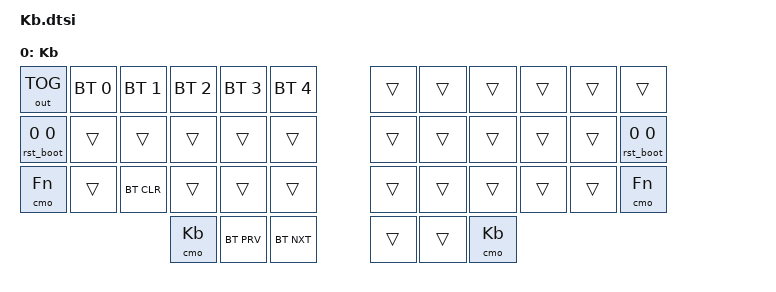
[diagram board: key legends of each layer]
/**
 * Keyboard Settings Layer
 */

/ {
  keymap {
    compatible = "zmk,keymap";

    kb_layer {
      display-name = "Kb";
      bindings = <
// ╭───────────────┬───────────────┬───────────────┬───────────────┬───────────────┬───────────────╮   ╭───────────────┬───────────────┬───────────────┬───────────────┬───────────────┬───────────────╮
// │0              │1              │2              │3              │4              │5              │   │6              │7              │8              │9              │10             │11             │
    &out OUT_TOG    &bt BT_SEL 0    &bt BT_SEL 1    &bt BT_SEL 2    &bt BT_SEL 3    &bt BT_SEL 4        &trans          &trans          &trans          &trans          &trans          &trans
// ├───────────────├───────────────┼───────────────┼───────────────┼───────────────┼───────────────┤   ├───────────────├───────────────┼───────────────┼───────────────┼───────────────┼───────────────┤
// │12             │13             │14             │15             │16             │17             │   │18             │19             │20             │21             │22             │23             │
    &rst_boot 0 0   &trans          &trans          &trans          &trans          &trans              &trans          &trans          &trans          &trans          &trans          &rst_boot 0 0
// ├───────────────├───────────────┼───────────────┼───────────────┼───────────────┼───────────────┤   ├───────────────├───────────────┼───────────────┼───────────────┼───────────────┼───────────────┤
// │24             │25             │26             │27             │28             │29             │   │30             │31             │32             │33             │34             │35             │
    &cmo Fn         &trans          &bt BT_CLR      &trans          &trans          &trans              &trans          &trans          &trans          &trans          &trans          &cmo Fn
// ╰───────────────┴───────────────┴───────────────┼───────────────┼───────────────┼───────────────┤   ├───────────────├───────────────┼───────────────┼───────────────┴───────────────┴───────────────╯
//                                                 │36             │37             │38             │   │39             │40             │41             │
                                                    &cmo Kb         &bt BT_PRV      &bt BT_NXT          &trans          &trans          &cmo Kb
//                                                 ╰───────────────┴───────────────┴───────────────╯   ╰───────────────┴───────────────┴───────────────╯
      >;
    };
  };
};
